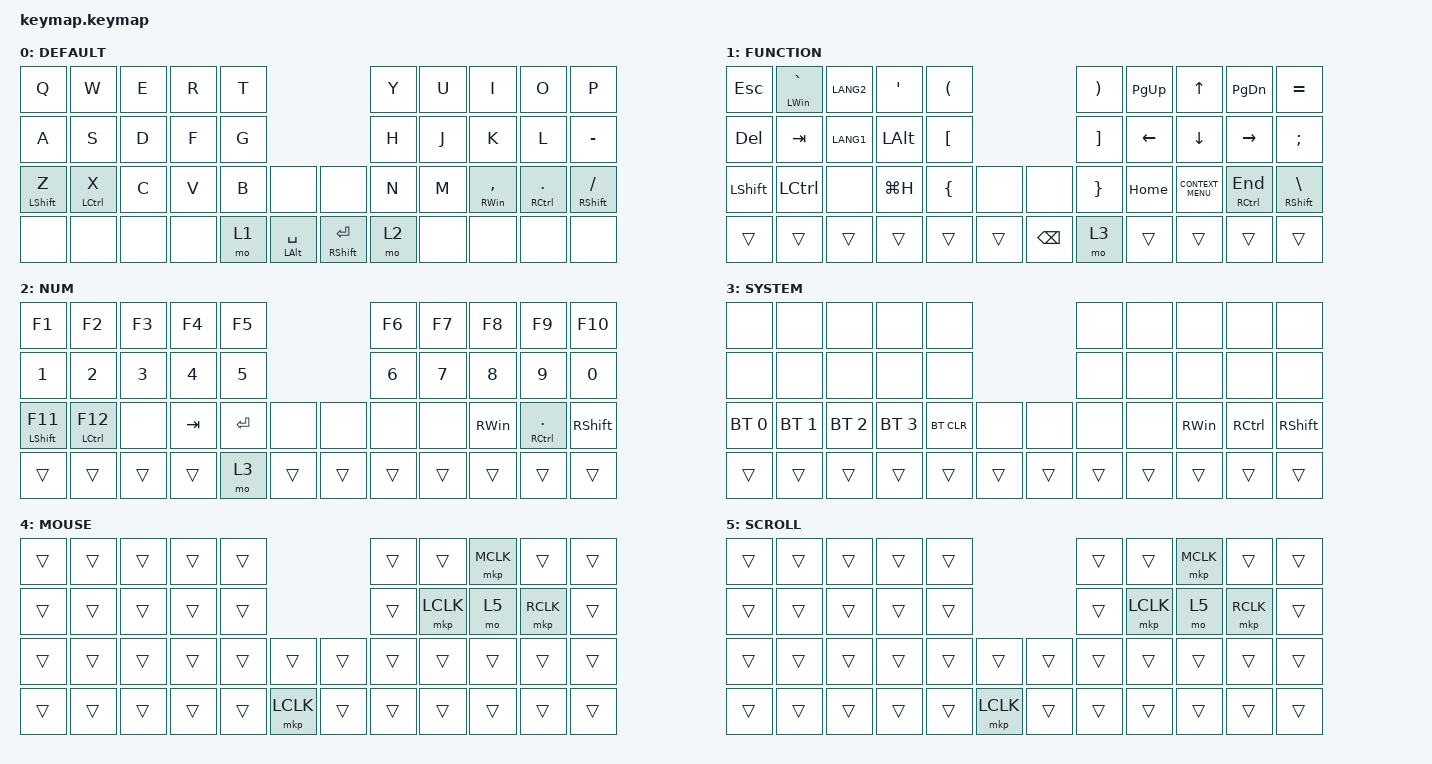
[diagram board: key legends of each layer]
#include <behaviors.dtsi>
#include <dt-bindings/zmk/bt.h>
#include <dt-bindings/zmk/keys.h>
#include <dt-bindings/zmk/outputs.h>
#include <dt-bindings/zmk/pointing.h>
#include <input/processors.dtsi>
#include <dt-bindings/zmk/input_transform.h>

#define DEFAULT 0
#define FUNCTION 1
#define NUM 2
#define SYSTEM 3
#define MOUSE 4
#define SCROLL 5

// tap-hold preference
&mt {
    flavor = "hold-preferred";
    quick-tap-ms = <0>;
    tapping-term-ms = <150>;
};

/ {
    input_processors {
        /omit-if-no-ref/

        zip_temp_layer: zip_temp_layer {
            compatible = "zmk,input-processor-temp-layer";
            #input-processor-cells = <2>;
            require-prior-idle-ms = <300>;
            excluded-positions = <
                7 // I
                16  // J
                17 // K
                18 // L
                37 // SPACE
            >;
        };
    };
};

&pointing_listener {
    input-processors =
        <&zip_xy_transform (INPUT_TRANSFORM_X_INVERT | INPUT_TRANSFORM_Y_INVERT)>,
        <&zip_xy_scaler 1 1>,
        <&zip_temp_layer MOUSE 300>;
    scroller {
        layers = <SCROLL>;
        input-processors =
            <&zip_xy_transform INPUT_TRANSFORM_X_INVERT>,
            <&zip_xy_scaler 1 16>,
            <&zip_xy_to_scroll_mapper>,
            <&zip_scroll_scaler 2 3>;
    };
};


/ {
    combos {
        compatible = "zmk,combos";

    };

    keymap {
        compatible = "zmk,keymap";

        DEFAULT {
            bindings = <
&kp Q             &kp W        &kp E  &kp R  &kp T                                               &kp Y  &kp U  &kp I                &kp O             &kp P
&kp A             &kp S        &kp D  &kp F  &kp G                                               &kp H  &kp J  &kp K                &kp L             &kp MINUS
&mt LEFT_SHIFT Z  &mt LCTRL X  &kp C  &kp V  &kp B  &none                 &none                  &kp N  &kp M  &mt RIGHT_WIN COMMA  &mt RCTRL PERIOD  &mt RIGHT_SHIFT SLASH
&none             &none        &none  &none  &mo 1  &mt LEFT_ALT SPACE    &mt RIGHT_SHIFT ENTER  &mo 2  &none  &none                &none             &none
            >;
        };

        FUNCTION {
            bindings = <
&kp ESC         &mt LEFT_WIN GRAVE  &kp LANG2  &kp SQT       &kp LEFT_PARENTHESIS                           &kp RIGHT_PARENTHESIS  &kp PAGE_UP     &kp UP_ARROW        &kp PAGE_DOWN  &kp EQUAL
&kp DELETE      &kp TAB             &kp LANG1  &kp LEFT_ALT  &kp LEFT_BRACKET                               &kp RIGHT_BRACKET      &kp LEFT_ARROW  &kp DOWN_ARROW      &kp RIGHT      &kp SEMICOLON
&kp LEFT_SHIFT  &kp LCTRL           &none      &kp LG(H)     &kp LEFT_BRACE        &none     &none          &kp RIGHT_BRACE        &kp HOME        &kp K_CONTEXT_MENU  &mt RCTRL END  &mt RIGHT_SHIFT BACKSLASH
&trans          &trans              &trans     &trans        &trans                &trans    &kp BACKSPACE  &mo 3                  &trans          &trans              &trans         &trans
            >;
        };

        NUM {
            bindings = <
&kp F1              &kp F2         &kp F3  &kp F4   &kp F5                       &kp F6  &kp F7  &kp F8         &kp F9            &kp F10
&kp N1              &kp N2         &kp N3  &kp N4   &kp N5                       &kp N6  &kp N7  &kp N8         &kp N9            &kp N0
&mt LEFT_SHIFT F11  &mt LCTRL F12  &none   &kp TAB  &kp ENTER  &none     &none   &none   &none   &kp RIGHT_WIN  &mt RCTRL PERIOD  &kp RIGHT_SHIFT
&trans              &trans         &trans  &trans   &mo 3      &trans    &trans  &trans  &trans  &trans         &trans            &trans
            >;
        };

        SYSTEM {
            bindings = <
&none         &none         &none         &none         &none                         &none   &none  &none          &none      &none
&none         &none         &none         &none         &none                         &none   &none  &none          &none      &none
&bt BT_SEL 0  &bt BT_SEL 1  &bt BT_SEL 2  &bt BT_SEL 3  &bt BT_CLR  &none     &none   &none   &none  &kp RIGHT_WIN  &kp RCTRL  &kp RIGHT_SHIFT
&trans        &trans        &trans        &trans        &trans      &trans    &trans  &trans  &trans &trans         &trans     &trans
            >;
        };

        MOUSE {
            bindings = <
&trans  &trans  &trans  &trans  &trans                       &trans  &trans     &mkp MCLK  &trans     &trans
&trans  &trans  &trans  &trans  &trans                       &trans  &mkp LCLK  &mo 5      &mkp RCLK  &trans
&trans  &trans  &trans  &trans  &trans  &trans       &trans  &trans  &trans     &trans     &trans     &trans
&trans  &trans  &trans  &trans  &trans  &mkp LCLK    &trans  &trans  &trans     &trans     &trans     &trans
            >;
        };

        SCROLL {
            bindings = <
&trans  &trans  &trans  &trans  &trans                       &trans  &trans     &mkp MCLK  &trans     &trans
&trans  &trans  &trans  &trans  &trans                       &trans  &mkp LCLK  &mo 5      &mkp RCLK  &trans
&trans  &trans  &trans  &trans  &trans  &trans       &trans  &trans  &trans     &trans     &trans     &trans
&trans  &trans  &trans  &trans  &trans  &mkp LCLK    &trans  &trans  &trans     &trans     &trans     &trans
            >;
        };
    };
};
